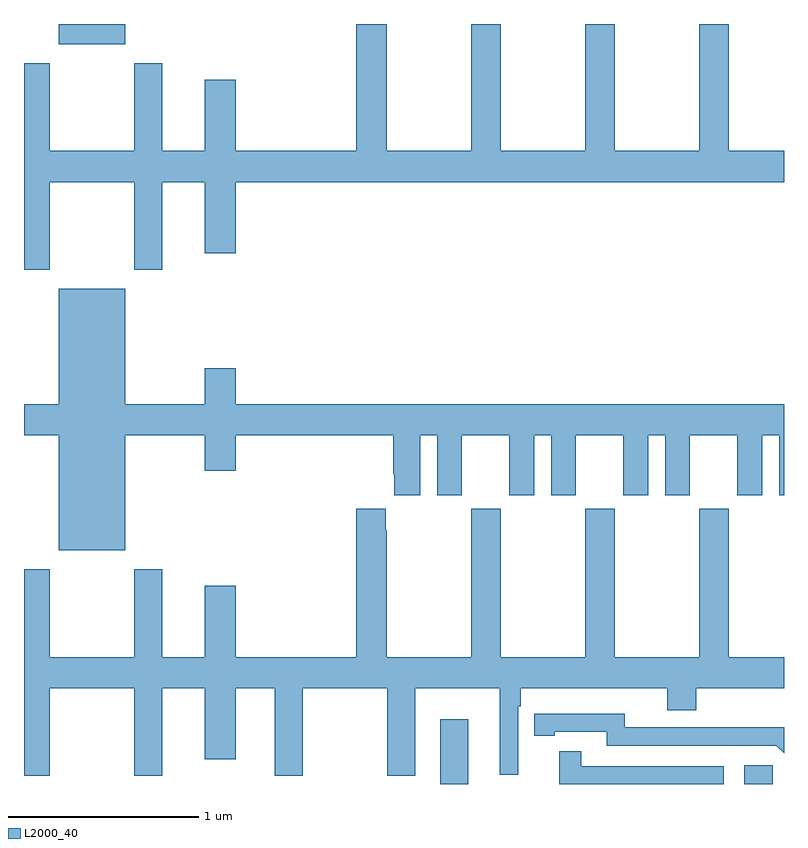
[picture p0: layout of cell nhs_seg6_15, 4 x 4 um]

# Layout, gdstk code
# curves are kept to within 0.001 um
import gdstk
lib = gdstk.Library(unit=1e-6, precision=1e-09)
def R(c, l, rs):  # rectangles x0, y0, x1, y1
    for r in rs: c.add(gdstk.rectangle(r[:2], r[2:], *l))
def P(c, l, *ps):  # polygons
    for p in ps: c.add(gdstk.Polygon(p, *l))
L2000_40 = (2000, 40)

nhs_seg6_15 = lib.new_cell('nhs_seg6_15')
R(nhs_seg6_15, L2000_40, [(113.192,945.5,113.338,945.841), (114.792,945.5,114.942,945.598), (111.182,949.394,111.532,949.5)])
P(nhs_seg6_15, L2000_40, [(111.135,948.668),(111.58,948.668),(111.58,948.207),(111.727,948.207),(111.727,948.668),(111.95,948.668),(111.95,948.294),(112.114,948.294),(112.114,948.668),(115,948.668),(115,948.832),(114.708,948.832),(114.708,949.5),(114.553,949.5),(114.553,948.832),(114.108,948.832),(114.108,949.5),(113.953,949.5),(113.953,948.832),(113.508,948.832),(113.508,949.5),(113.353,949.5),(113.353,948.832),(112.908,948.832),(112.908,949.499),(112.903,949.499),(112.903,949.5),(112.748,949.5),(112.748,948.832),(112.114,948.832),(112.114,949.207),(111.95,949.207),(111.95,948.832),(111.727,948.832),(111.727,949.294),(111.58,949.294),(111.58,948.832),(111.135,948.832),(111.135,949.294),(111,949.294),(111,948.207),(111.135,948.207)],
  [(111.532,947.336),(111.95,947.336),(111.95,947.148),(112.114,947.148),(112.114,947.336),(112.943,947.336),(112.943,947.131),(112.949,947.131),(112.949,947.019),(113.086,947.019),(113.086,947.336),(113.174,947.336),(113.174,947.019),(113.305,947.019),(113.305,947.336),(113.555,947.336),(113.555,947.019),(113.686,947.019),(113.686,947.336),(113.774,947.336),(113.774,947.019),(113.905,947.019),(113.905,947.336),(114.155,947.336),(114.155,947.019),(114.286,947.019),(114.286,947.336),(114.374,947.336),(114.374,947.019),(114.505,947.019),(114.505,947.336),(114.755,947.336),(114.755,947.019),(114.886,947.019),(114.886,947.336),(114.974,947.336),(114.974,947.019),(115,947.019),(115,947.5),(112.114,947.5),(112.114,947.689),(111.95,947.689),(111.95,947.5),(111.532,947.5),(111.532,948.106),(111.182,948.106),(111.182,947.5),(111,947.5),(111,947.336),(111.182,947.336),(111.182,946.73),(111.532,946.73)],
  [(111.135,946.004),(111.58,946.004),(111.58,945.543),(111.727,945.543),(111.727,946.004),(111.95,946.004),(111.95,945.63),(112.114,945.63),(112.114,946.004),(112.319,946.004),(112.319,945.543),(112.467,945.543),(112.467,946.004),(112.912,946.004),(112.912,945.543),(113.059,945.543),(113.059,946.004),(113.504,946.004),(113.504,945.549),(113.601,945.549),(113.601,945.908),(113.615,945.908),(113.615,946.004),(114.386,946.004),(114.386,945.887),(114.539,945.887),(114.539,946.004),(115,946.004),(115,946.168),(114.708,946.168),(114.708,946.948),(114.553,946.948),(114.553,946.168),(114.108,946.168),(114.108,946.948),(113.953,946.948),(113.953,946.168),(113.508,946.168),(113.508,946.948),(113.353,946.948),(113.353,946.168),(112.908,946.168),(112.908,946.835),(112.903,946.835),(112.903,946.948),(112.748,946.948),(112.748,946.168),(112.114,946.168),(112.114,946.543),(111.95,946.543),(111.95,946.168),(111.727,946.168),(111.727,946.63),(111.58,946.63),(111.58,946.168),(111.135,946.168),(111.135,946.63),(111,946.63),(111,945.543),(111.135,945.543)],
  [(115,945.8),(114.622,945.8),(114.622,945.798),(114.162,945.798),(114.162,945.871),(113.686,945.87),(113.686,945.754),(113.794,945.754),(113.794,945.774),(114.066,945.774),(114.066,945.702),(114.96,945.702),(115,945.662)],
  [(114.682,945.594),(113.933,945.594),(113.933,945.673),(113.816,945.673),(113.816,945.5),(114.682,945.5)])

lib.write_gds('nhs_seg6_15.gds')
